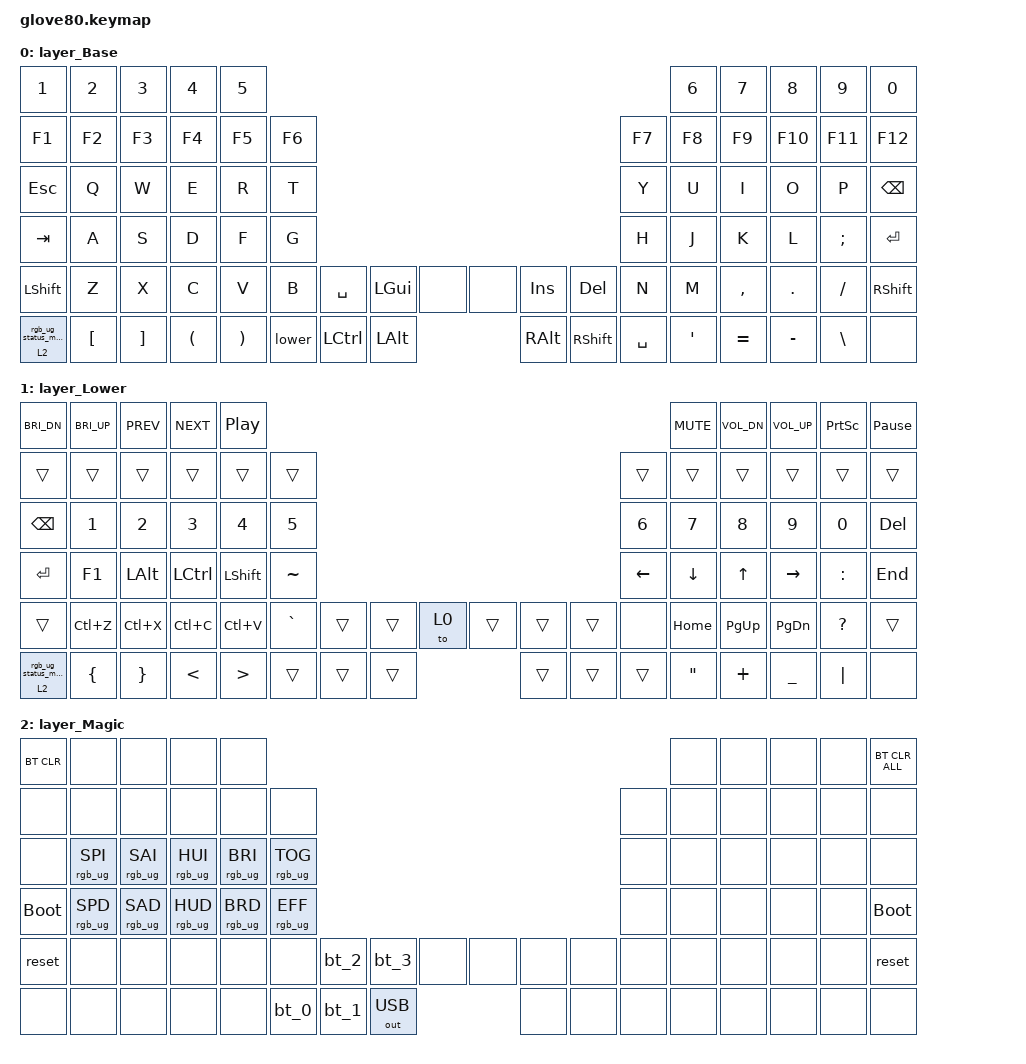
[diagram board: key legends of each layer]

/*
 * Copyright (c) 2020 The ZMK Contributors
 * Copyright (c) 2022 Innaworks Development Limited, trading as MoErgo
 *
 * SPDX-License-Identifier: MIT
 */


/* THIS FILE WAS GENERATED BY GLOVE80 LAYOUT EDITOR
 *
 * This file was generated automatically. You may or may not want to
 * edit it directly.
 */

#include <behaviors.dtsi>
/* Include all behaviour includes needed by system behaviors/macros */
#include <dt-bindings/zmk/outputs.h>

/* Include behaviour includes needed by key binds - automatically generated */
#include <dt-bindings/zmk/keys.h>
#include <dt-bindings/zmk/bt.h>
#include <dt-bindings/zmk/rgb.h>
#include <dt-bindings/zmk/outputs.h>


/ {
    /* Glove80 system behavior & macros */
    behaviors {
        // For the "layer" key, it'd nice to be able to use it as either a shift or a toggle.
        // Configure it as a tap dance, so the first tap (or hold) is a &mo and the second tap is a &to
        lower: tap_dance_0 {
            compatible = "zmk,behavior-tap-dance";
            label = "LAYER_TAP_DANCE";
            #binding-cells = <0>;
            tapping-term-ms = <200>;
            bindings = <&mo 1>, <&to 1>;
        };
    };
};

/ {
    macros {
        rgb_ug_status_macro: rgb_ug_status_macro_0 {
            label = "RGB_UG_STATUS";
            compatible = "zmk,behavior-macro";
            #binding-cells = <0>;
            bindings
                = <&rgb_ug RGB_STATUS>;
        };

        bt_0: bt_profile_macro_0 {
            label = "BT_0";
            compatible = "zmk,behavior-macro";
            #binding-cells = <0>;
            bindings
                = <&out OUT_BLE>,
                  <&bt BT_SEL 0>;
        };

        bt_1: bt_profile_macro_1 {
            label = "BT_1";
            compatible = "zmk,behavior-macro";
            #binding-cells = <0>;
            bindings
                = <&out OUT_BLE>,
                  <&bt BT_SEL 1>;
        };

        bt_2: bt_profile_macro_2 {
            label = "BT_2";
            compatible = "zmk,behavior-macro";
            #binding-cells = <0>;
            bindings
                = <&out OUT_BLE>,
                  <&bt BT_SEL 2>;
        };

        bt_3: bt_profile_macro_3 {
            label = "BT_3";
            compatible = "zmk,behavior-macro";
            #binding-cells = <0>;
            bindings
                = <&out OUT_BLE>,
                  <&bt BT_SEL 3>;
        };
    };
};

/ {
    magic: magic_hold_tap {
        compatible = "zmk,behavior-hold-tap";
        label = "MAGIC_HOLD_TAP";
        #binding-cells = <2>;
        flavor = "tap-preferred";
        tapping-term-ms = <200>;
        bindings = <&mo>, <&rgb_ug_status_macro>;
    };
};

    /* Custom Defined Behaviors */
/ {
    
};

    /* Automatically generated keymap */
/ {
    keymap {
        compatible = "zmk,keymap";


        layer_Base {
            bindings = <
     &kp N1    &kp N2    &kp N3    &kp N4    &kp N5                                                                                   &kp N6     &kp N7     &kp N8    &kp N9     &kp N0
     &kp F1    &kp F2    &kp F3    &kp F4    &kp F5  &kp F6                                                                  &kp F7   &kp F8     &kp F9    &kp F10   &kp F11    &kp F12
    &kp ESC     &kp Q     &kp W     &kp E     &kp R   &kp T                                                                   &kp Y    &kp U      &kp I      &kp O     &kp P   &kp BSPC
    &kp TAB     &kp A     &kp S     &kp D     &kp F   &kp G                                                                   &kp H    &kp J      &kp K      &kp L  &kp SEMI    &kp RET
  &kp LSHFT     &kp Z     &kp X     &kp C     &kp V   &kp B  &kp SPACE   &kp LGUI     &none     &none    &kp INS    &kp DEL   &kp N    &kp M  &kp COMMA    &kp DOT  &kp FSLH  &kp RSHFT
 &magic 2 0  &kp LBKT  &kp RBKT  &kp LPAR  &kp RPAR             &lower  &kp LCTRL  &kp LALT  &kp RALT  &kp RSHFT  &kp SPACE          &kp SQT  &kp EQUAL  &kp MINUS  &kp BSLH      &none
            >;
        };

        layer_Lower {
            bindings = <
 &kp C_BRI_DN  &kp C_BRI_UP  &kp C_PREV  &kp C_NEXT   &kp C_PP                                                                       &kp C_MUTE  &kp C_VOL_DN  &kp C_VOL_UP  &kp PSCRN  &kp PAUSE_BREAK
       &trans        &trans      &trans      &trans     &trans     &trans                                                    &trans      &trans        &trans        &trans     &trans           &trans
     &kp BSPC        &kp N1      &kp N2      &kp N3     &kp N4     &kp N5                                                    &kp N6      &kp N7        &kp N8        &kp N9     &kp N0          &kp DEL
      &kp RET        &kp F1    &kp LALT   &kp LCTRL  &kp LSHFT  &kp TILDE                                                  &kp LEFT    &kp DOWN        &kp UP     &kp RIGHT  &kp COLON          &kp END
       &trans        &kp LC(Z)   &kp LC(X)   &kp LC(C)  &kp LC(V)  &kp GRAVE  &trans  &trans   &to 0  &trans  &trans  &trans     &none    &kp HOME     &kp PG_UP     &kp PG_DN  &kp QMARK           &trans
   &magic 2 0        &kp LBRC    &kp RBRC    &kp LT     &kp GT                &trans  &trans  &trans  &trans  &trans  &trans               &kp DQT      &kp PLUS     &kp UNDER   &kp PIPE            &none
            >;
        };

        layer_Magic {
            bindings = <
  &bt BT_CLR            &none            &none            &none            &none                                                                                  &none   &none   &none   &none  &bt BT_CLR_ALL
       &none            &none            &none            &none            &none            &none                                                         &none   &none   &none   &none   &none           &none
       &none  &rgb_ug RGB_SPI  &rgb_ug RGB_SAI  &rgb_ug RGB_HUI  &rgb_ug RGB_BRI  &rgb_ug RGB_TOG                                                         &none   &none   &none   &none   &none           &none
 &bootloader  &rgb_ug RGB_SPD  &rgb_ug RGB_SAD  &rgb_ug RGB_HUD  &rgb_ug RGB_BRD  &rgb_ug RGB_EFF                                                         &none   &none   &none   &none   &none     &bootloader
      &reset            &none            &none            &none            &none            &none   &bt_2   &bt_3         &none   &none   &none   &none   &none   &none   &none   &none   &none          &reset
       &none            &none            &none            &none            &none                    &bt_0   &bt_1  &out OUT_USB   &none   &none   &none           &none   &none   &none   &none           &none
            >;
        };

    };
};
